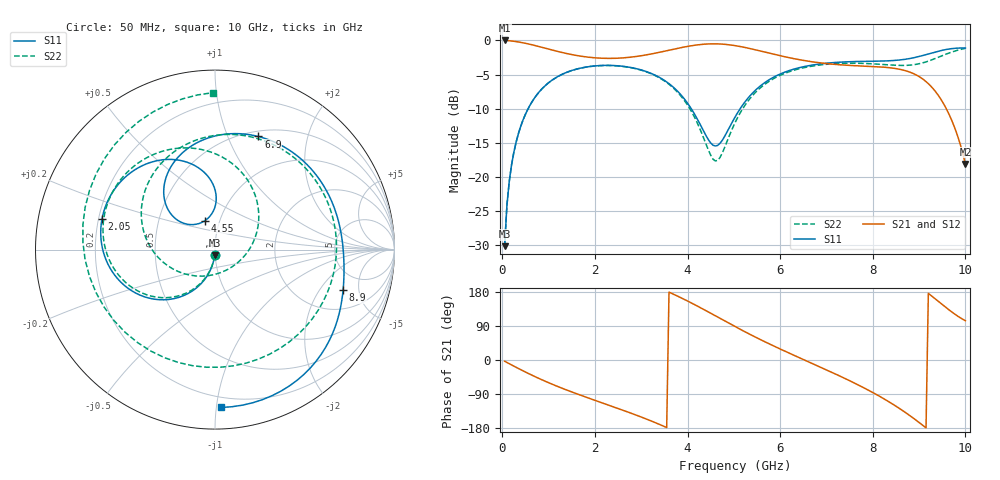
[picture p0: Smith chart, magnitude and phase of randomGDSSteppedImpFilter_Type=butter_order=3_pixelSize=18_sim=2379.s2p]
! freq	dB(S11)	phase(S11)	dB(S12)	phase(S12)
!  dB(S21)	phase(S21)	dB(S22)	phase(S22)
!S-par simulation data
#  GHz  S  DB  R 50
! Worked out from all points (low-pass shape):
!   200 points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, 50 MHz to 10 GHz, reference 50 ohm
!   highest |S21| = -0.01 dB at 50 MHz (marker M1); lowest = -18.1 dB at 10 GHz (marker M2)
!   |S21| within 3 dB of the highest: start of sweep to 6.57 GHz
!   lowest |S11| = -30.2 dB at 50 MHz (marker M3), VSWR 1.06, Z = 49.7 - j3.09 ohm
!   |S11| at or under -10 dB: start of sweep to 558.6 MHz; 4.079 GHz to 5.138 GHz (1.059 GHz wide, 23 % of centre)
!   |S22| runs from -30.2 to -1.2 dB; largest |S21 - S12| = 0
!   S11 on the Smith chart (normalised r, x): 50 MHz: 0.99, -0.06; 2.05 GHz: 0.21, +0.13; 4.55 GHz: 0.85, +0.28; 6.9 GHz: 0.56, +1.30; 8.9 GHz: 3.31, -3.40; 10 GHz: 0.13, -1.03
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0.05  -30.16 -93.4  -0.01 -3.3  -0.01 -3.3  -30.16 -93.5
0.2  -18.25 -103.2  -0.09 -13.0  -0.09 -13.0  -18.25 -103.8
0.5  -10.82 -121.6  -0.42 -31.8  -0.42 -31.8  -10.83 -123.1
1.05  -5.94 -151.4  -1.36 -62.5  -1.36 -62.5  -5.95 -154.7
1.75  -3.98 177.1  -2.36 -95.5  -2.36 -95.5  -3.99 170.9
2.05  -3.71 164.9  -2.58 -108.6  -2.58 -108.6  -3.72 157.1
2.8  -4.00 135.4  -2.43 -141.2  -2.43 -141.2  -4.03 121.8
3.4  -5.45 111.5  -1.73 -170.3  -1.73 -170.3  -5.51 88.8
4  -9.20 90.7  -0.88 155.7  -0.88 155.7  -9.48 44.3
4.55  -15.36 109.1  -0.50 120.1  -0.50 120.1  -17.41 -45.8
5.05  -10.96 141.9  -0.79 86.7  -0.79 86.7  -11.73 -155.6
5.8  -5.61 117.8  -1.93 40.5  -1.93 40.5  -5.83 139.5
6.7  -3.61 77.9  -3.14 -9.6  -3.14 -9.6  -3.76 81.3
6.9  -3.42 69.0  -3.32 -20.5  -3.32 -20.5  -3.57 68.6
7.75  -3.08 31.7  -3.75 -69.8  -3.75 -69.8  -3.36 9.1
8.35  -2.99 6.1  -3.99 -110.4  -3.99 -110.4  -3.59 -45.7
8.65  -2.81 -6.5  -4.34 -133.9  -4.34 -133.9  -3.67 -80.9
8.9  -2.52 -17.6  -4.94 -155.6  -4.94 -155.6  -3.55 -115.0
9.2  -1.98 -32.7  -6.34 175.9  -6.34 175.9  -3.04 -160.2
9.4  -1.61 -44.6  -7.91 156.2  -7.91 156.2  -2.51 169.3
9.7  -1.21 -65.0  -11.64 127.4  -11.64 127.4  -1.72 127.0
10  -1.11 -87.8  -18.11 103.8  -18.11 103.8  -1.17 90.9
